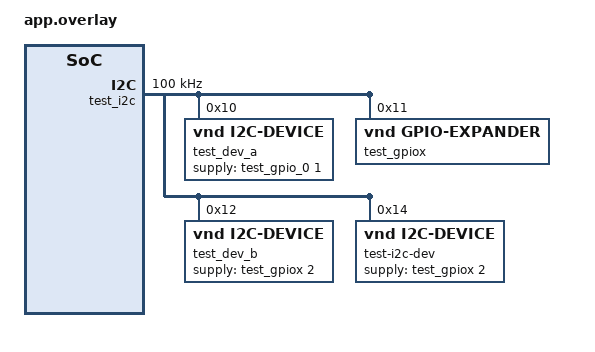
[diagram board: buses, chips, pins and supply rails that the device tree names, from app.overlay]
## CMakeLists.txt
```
# SPDX-License-Identifier: Apache-2.0

cmake_minimum_required(VERSION 3.28.0)

find_package(Zephyr REQUIRED HINTS $ENV{ZEPHYR_BASE})
project(devicetree_devices)

FILE(GLOB app_sources src/*.c)
target_sources(app PRIVATE ${app_sources})
```

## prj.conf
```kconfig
CONFIG_ZTEST=y
CONFIG_I2C=n
CONFIG_DEVICE_DEPS=y
CONFIG_CHECK_INIT_PRIORITIES=n
```

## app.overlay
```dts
/*
 * Copyright (c) 2020 Nordic Semiconductor ASA
 *
 * SPDX-License-Identifier: Apache-2.0
 *
 * Application overlay for testing the devicetree.h API.
 *
 * Names in this file should be chosen in a way that won't conflict
 * with real-world devicetree nodes, to allow these tests to run on
 * (and be extended to test) real hardware.
 */

/ {
	test {
		#address-cells = <0x1>;
		#size-cells = <0x1>;

		test_gpio_injected: gpio@1000 {
			compatible = "vnd,gpio-device";
			reg = <0x1000 0x1000>;
			gpio-controller;
			#gpio-cells = <0x2>;
			status = "okay";
		};

		test_gpio_0: gpio@ffff {
			compatible = "vnd,gpio-device";
			reg = <0xffff 0x1000>;
			gpio-controller;
			#gpio-cells = <0x2>;
			status = "okay";
		};

		test_i2c: i2c@11112222 {
			compatible = "vnd,i2c";
			reg = <0x11112222 0x1000>;
			#address-cells = <1>;
			#size-cells = <0>;
			clock-frequency = <100000>;
			status = "okay";

			test_dev_a: test-i2c-dev@10 {
				compatible = "vnd,i2c-device";
				reg = <0x10>;
				supply-gpios = <&test_gpio_0 1 0>;
				status = "okay";
			};

			test_gpiox: test-i2c-dev@11 {
				compatible = "vnd,gpio-expander";
				reg = <0x11>;
				gpio-controller;
				#gpio-cells = <2>;
				status = "okay";
			};

			test_dev_b: test-i2c-dev@12 {
				compatible = "vnd,i2c-device";
				reg = <0x12>;
				supply-gpios = <&test_gpiox 2 0>;
				status = "okay";
			};

			test_dev_c: test-i2c-dev@13 {
				compatible = "vnd,i2c-device";
				reg = <0x13>;
				status = "disabled";

				partitions {
					compatible = "fixed-partitions";
					#address-cells = <1>;
					#size-cells = <1>;

					test_p0_p1: partition@0 {
						compatible = "fixed-subpartitions";
						reg = <0x00000000 0x73000>;
						ranges = <0x0 0x0 0x73000>;
						label = "partition-0-1-outer";
						#address-cells = <1>;
						#size-cells = <1>;

						test_p0: partition@0 {
							reg = <0x00000000 0x0000c000>;
							label = "partition-0";
						};

						test_p1: partition@c000 {
							reg = <0x0000c000 0x00067000>;
							label = "partition-1";
						};
					};
				};
			};

			test-i2c-dev@14 {
				compatible = "vnd,i2c-device";
				reg = <0x14>;
				supply-gpios = <&test_gpiox 2 0>;
				status = "okay";
			};
		};
	};
};
```

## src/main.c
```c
/*
 * Copyright (c) 2020 Nordic Semiconductor ASA
 *
 * SPDX-License-Identifier: Apache-2.0
 */

#include <zephyr/ztest.h>
#include <zephyr/devicetree.h>
#include <zephyr/device.h>

#define TEST_GPIO DT_NODELABEL(test_gpio_0)
#define TEST_I2C DT_NODELABEL(test_i2c)
#define TEST_DEVA DT_NODELABEL(test_dev_a)
#define TEST_GPIOX DT_NODELABEL(test_gpiox)
#define TEST_DEVB DT_NODELABEL(test_dev_b)
#define TEST_DEVC DT_NODELABEL(test_dev_c)
#define TEST_PARTITION_OUTER DT_NODELABEL(test_p0_p1)
#define TEST_PARTITION0 DT_NODELABEL(test_p0)
#define TEST_PARTITION1 DT_NODELABEL(test_p1)
#define TEST_GPIO_INJECTED DT_NODELABEL(test_gpio_injected)
#define TEST_NOLABEL DT_PATH(test, i2c_11112222, test_i2c_dev_14)

static const struct device *devlist;
static const struct device *devlist_end;

static device_handle_t init_order[12];

static int dev_init(const struct device *dev)
{
	static uint8_t init_idx;

	__ASSERT_NO_MSG(init_idx < ARRAY_SIZE(init_order));
	init_order[init_idx++] = device_handle_get(dev);

	return 0;
}

DEVICE_DT_DEFINE(TEST_GPIO, dev_init, NULL,
		 NULL, NULL, PRE_KERNEL_1, 90, NULL);
DEVICE_DT_DEFINE(TEST_I2C, dev_init, NULL,
		 NULL, NULL, POST_KERNEL, 10, NULL);
DEVICE_DT_DEFINE(TEST_DEVA, dev_init, NULL,
		 NULL, NULL, POST_KERNEL, 20, NULL);
/* NB: Intentional init devb before required gpiox */
DEVICE_DT_DEFINE(TEST_DEVB, dev_init, NULL,
		 NULL, NULL, POST_KERNEL, 30, NULL);
DEVICE_DT_DEFINE(TEST_GPIOX, dev_init, NULL,
		 NULL, NULL, POST_KERNEL, 40, NULL);
DEVICE_DT_DEFINE(TEST_DEVC, dev_init, NULL,
		 NULL, NULL, POST_KERNEL, 50, NULL);
DEVICE_DT_DEFINE(TEST_PARTITION_OUTER, dev_init, NULL,
		 NULL, NULL, POST_KERNEL, 60, NULL);
DEVICE_DT_DEFINE(TEST_PARTITION0, dev_init, NULL,
		 NULL, NULL, POST_KERNEL, 61, NULL);
DEVICE_DT_DEFINE(TEST_PARTITION1, dev_init, NULL,
		 NULL, NULL, POST_KERNEL, 62, NULL);
/* Device with both an existing and missing injected dependency */
DEVICE_DT_DEFINE(TEST_GPIO_INJECTED, dev_init, NULL,
		 NULL, NULL, POST_KERNEL, 70, NULL, DT_DEP_ORD(TEST_DEVB), 999);
/* Manually specified device */
DEVICE_DEFINE(manual_dev, "Manual Device", dev_init, NULL,
		 NULL, NULL, POST_KERNEL, 80, NULL);
/* Device with no nodelabel */
DEVICE_DT_DEFINE(TEST_NOLABEL, dev_init, NULL,
		 NULL, NULL, POST_KERNEL, 90, NULL);

static const struct device *const comma_devs[] = {
	DEVICE_DT_GET_COMMA(TEST_GPIO)
	DEVICE_DT_GET_COMMA(TEST_I2C)
};

#undef DT_DRV_COMPAT
#define DT_DRV_COMPAT vnd_gpio_device

static const struct device *const comma_inst_devs[] = {
	DEVICE_DT_INST_GET_COMMA(0)
	DEVICE_DT_INST_GET_COMMA(1)
};

#define DEV_HDL(node_id) device_handle_get(DEVICE_DT_GET(node_id))
#define DEV_HDL_NAME(name) device_handle_get(DEVICE_GET(name))

/**
 * @brief Verify DEVICE_INIT_DT_GET() resolves to the matching device.
 *
 * @details
 * For every test devicetree node, the init entry obtained with
 * DEVICE_INIT_DT_GET() must reference the same device object that
 * DEVICE_DT_GET() returns.
 *
 * Expected result:
 * - Each init entry's device pointer equals the corresponding device.
 *
 * @ingroup kernel_device_tests
 * @see DEVICE_INIT_DT_GET()
 * @see DEVICE_DT_GET()
 * @verifies ZEP-SRS-14-5
 * @verifies ZEP-SRS-14-13
 */
ZTEST(devicetree_devices, test_init_get)
{
	/* Check device pointers */
	zassert_equal(DEVICE_INIT_DT_GET(TEST_GPIO)->dev,
		      DEVICE_DT_GET(TEST_GPIO));
	zassert_equal(DEVICE_INIT_DT_GET(TEST_I2C)->dev,
		      DEVICE_DT_GET(TEST_I2C));
	zassert_equal(DEVICE_INIT_DT_GET(TEST_DEVA)->dev,
		      DEVICE_DT_GET(TEST_DEVA));
	zassert_equal(DEVICE_INIT_DT_GET(TEST_DEVB)->dev,
		      DEVICE_DT_GET(TEST_DEVB));
	zassert_equal(DEVICE_INIT_DT_GET(TEST_GPIOX)->dev,
		      DEVICE_DT_GET(TEST_GPIOX));
	zassert_equal(DEVICE_INIT_DT_GET(TEST_DEVC)->dev,
		      DEVICE_DT_GET(TEST_DEVC));
	zassert_equal(DEVICE_INIT_DT_GET(TEST_PARTITION_OUTER)->dev,
		      DEVICE_DT_GET(TEST_PARTITION_OUTER));
	zassert_equal(DEVICE_INIT_DT_GET(TEST_PARTITION0)->dev,
		      DEVICE_DT_GET(TEST_PARTITION0));
	zassert_equal(DEVICE_INIT_DT_GET(TEST_PARTITION1)->dev,
		      DEVICE_DT_GET(TEST_PARTITION1));
	zassert_equal(DEVICE_INIT_DT_GET(TEST_GPIO_INJECTED)->dev,
		      DEVICE_DT_GET(TEST_GPIO_INJECTED));
	zassert_equal(DEVICE_INIT_GET(manual_dev)->dev,
		      DEVICE_GET(manual_dev));
	zassert_equal(DEVICE_INIT_DT_GET(TEST_NOLABEL)->dev,
		      DEVICE_DT_GET(TEST_NOLABEL));

	/* Check DEVICE_DT_GET_COMMA */
	zassert_equal(comma_devs[0], DEVICE_DT_GET(TEST_GPIO));
	zassert_equal(comma_devs[1], DEVICE_DT_GET(TEST_I2C));

	/* Check DEVICE_DT_INST_GET_COMMA */
	zassert_equal(comma_inst_devs[0], DEVICE_DT_INST_GET(0));
	zassert_equal(comma_inst_devs[1], DEVICE_DT_INST_GET(1));

	/* Check init functions */
	zassert_equal(DEVICE_DT_GET(TEST_GPIO)->ops.init, dev_init);
	zassert_equal(DEVICE_DT_GET(TEST_I2C)->ops.init, dev_init);
	zassert_equal(DEVICE_DT_GET(TEST_DEVA)->ops.init, dev_init);
	zassert_equal(DEVICE_DT_GET(TEST_DEVB)->ops.init, dev_init);
	zassert_equal(DEVICE_DT_GET(TEST_GPIOX)->ops.init, dev_init);
	zassert_equal(DEVICE_DT_GET(TEST_DEVC)->ops.init, dev_init);
	zassert_equal(DEVICE_DT_GET(TEST_PARTITION_OUTER)->ops.init, dev_init);
	zassert_equal(DEVICE_DT_GET(TEST_PARTITION0)->ops.init, dev_init);
	zassert_equal(DEVICE_DT_GET(TEST_PARTITION1)->ops.init, dev_init);
	zassert_equal(DEVICE_DT_GET(TEST_GPIO_INJECTED)->ops.init, dev_init);
	zassert_equal(DEVICE_GET(manual_dev)->ops.init, dev_init);
	zassert_equal(DEVICE_DT_GET(TEST_NOLABEL)->ops.init, dev_init);
}

/**
 * @brief Verify devices initialize in devicetree dependency order.
 *
 * @details
 * Each test driver records its device handle during initialization. The
 * recorded sequence must match the expected order derived from the
 * devicetree dependencies and init priorities.
 *
 * Expected result:
 * - The recorded initialization sequence matches the expected handle order.
 *
 * @ingroup kernel_device_tests
 * @see device_handle_get()
 */
ZTEST(devicetree_devices, test_init_order)
{
	zassert_equal(init_order[0], DEV_HDL(TEST_GPIO));
	zassert_equal(init_order[1], DEV_HDL(TEST_I2C));
	zassert_equal(init_order[2], DEV_HDL(TEST_DEVA));
	zassert_equal(init_order[3], DEV_HDL(TEST_DEVB));
	zassert_equal(init_order[4], DEV_HDL(TEST_GPIOX));
	zassert_equal(init_order[5], DEV_HDL(TEST_DEVC));
	zassert_equal(init_order[6], DEV_HDL(TEST_PARTITION_OUTER));
	zassert_equal(init_order[7], DEV_HDL(TEST_PARTITION0));
	zassert_equal(init_order[8], DEV_HDL(TEST_PARTITION1));
	zassert_equal(init_order[9], DEV_HDL(TEST_GPIO_INJECTED));
	zassert_equal(init_order[10], DEV_HDL_NAME(manual_dev));
	zassert_equal(init_order[11], DEV_HDL(TEST_NOLABEL));
}

static bool check_handle(device_handle_t hdl,
			 const device_handle_t *hdls,
			 size_t nhdls)
{
	const device_handle_t *hdle = hdls + nhdls;

	while (hdls < hdle) {
		if (*hdls == hdl) {
			return true;
		}
		++hdls;
	}

	return false;
}

struct visitor_context {
	uint8_t ndevs;
	const struct device *rdevs[2];
};

static int device_visitor(const struct device *dev,
			  void *context)
{
	struct visitor_context *ctx = context;
	const struct device **rdp = ctx->rdevs;

	while (rdp < (ctx->rdevs + ctx->ndevs)) {
		if (*rdp == NULL) {
			*rdp = dev;
			return 0;
		}

		++rdp;
	}

	return -ENOSPC;
}

/**
 * @brief Test querying the devices a device requires
 *
 * @details Verify device_required_handles_get() and device_required_foreach()
 * report the devices that a given device depends on.
 *
 * @ingroup kernel_device_tests
 * @see device_required_handles_get, device_required_foreach
 * @verifies ZEP-SRS-14-11
 */
ZTEST(devicetree_devices, test_requires)
{
	size_t nhdls = 0;
	const device_handle_t *hdls;
	const struct device *dev;
	struct visitor_context ctx = { 0 };

	/* TEST_GPIO: no req */
	dev = device_get_binding(DEVICE_DT_NAME(TEST_GPIO));
	zassert_equal(dev, DEVICE_DT_GET(TEST_GPIO));
	hdls = device_required_handles_get(dev, &nhdls);
	zassert_equal(nhdls, 0);
	zassert_equal(0, device_required_foreach(dev, device_visitor, &ctx));

	/* TEST_GPIO_INJECTED: no req */
	dev = device_get_binding(DEVICE_DT_NAME(TEST_GPIO_INJECTED));
	zassert_equal(dev, DEVICE_DT_GET(TEST_GPIO_INJECTED));
	hdls = device_required_handles_get(dev, &nhdls);
	zassert_equal(nhdls, 0);
	zassert_equal(0, device_required_foreach(dev, device_visitor, &ctx));

	/* TEST_I2C: no req */
	dev = device_get_binding(DEVICE_DT_NAME(TEST_I2C));
	zassert_equal(dev, DEVICE_DT_GET(TEST_I2C));
	hdls = device_required_handles_get(dev, &nhdls);
	zassert_equal(nhdls, 0);
	zassert_equal(0, device_required_foreach(dev, device_visitor, &ctx));

	/* TEST_DEVA: TEST_I2C GPIO */
	dev = device_get_binding(DEVICE_DT_NAME(TEST_DEVA));
	zassert_equal(dev, DEVICE_DT_GET(TEST_DEVA));
	hdls = device_required_handles_get(dev, &nhdls);
	zassert_equal(nhdls, 2);
	zassert_true(check_handle(DEV_HDL(TEST_I2C), hdls, nhdls));
	zassert_true(check_handle(DEV_HDL(TEST_GPIO), hdls, nhdls));

	/* Visit fails if not enough space */
	ctx = (struct visitor_context){
		.ndevs = 1,
	};
	zassert_equal(-ENOSPC, device_required_foreach(dev, device_visitor, &ctx));

	/* Visit succeeds if enough space. */
	ctx = (struct visitor_context){
		.ndevs = 2,
	};
	zassert_equal(2, device_required_foreach(dev, device_visitor, &ctx));
	zassert_true((ctx.rdevs[0] == device_from_handle(DEV_HDL(TEST_I2C)))
		     || (ctx.rdevs[1] == device_from_handle(DEV_HDL(TEST_I2C))));
	zassert_true((ctx.rdevs[0] == device_from_handle(DEV_HDL(TEST_GPIO)))
		     || (ctx.rdevs[1] == device_from_handle(DEV_HDL(TEST_GPIO))));

	/* TEST_GPIOX: TEST_I2C */
	dev = device_get_binding(DEVICE_DT_NAME(TEST_GPIOX));
	zassert_equal(dev, DEVICE_DT_GET(TEST_GPIOX));
	hdls = device_required_handles_get(dev, &nhdls);
	zassert_equal(nhdls, 1);
	zassert_true(check_handle(DEV_HDL(TEST_I2C), hdls, nhdls));
	ctx = (struct visitor_context){
		.ndevs = 3,
	};
	zassert_equal(1, device_required_foreach(dev, device_visitor, &ctx));
	zassert_true(ctx.rdevs[0] == device_from_handle(DEV_HDL(TEST_I2C)));

	/* TEST_DEVB: TEST_I2C TEST_GPIOX */
	dev = device_get_binding(DEVICE_DT_NAME(TEST_DEVB));
	zassert_equal(dev, DEVICE_DT_GET(TEST_DEVB));
	hdls = device_required_handles_get(dev, &nhdls);
	zassert_equal(nhdls, 2);
	zassert_true(check_handle(DEV_HDL(TEST_I2C), hdls, nhdls));
	zassert_true(check_handle(DEV_HDL(TEST_GPIOX), hdls, nhdls));

	/* TEST_GPIO_INJECTED: NONE */
	dev = device_get_binding(DEVICE_DT_NAME(TEST_GPIO_INJECTED));
	zassert_equal(dev, DEVICE_DT_GET(TEST_GPIO_INJECTED));
	hdls = device_required_handles_get(dev, &nhdls);
	zassert_equal(nhdls, 0);
}

/**
 * @brief Verify injected dependencies are reported for a device.
 *
 * @details
 * device_injected_handles_get() must return no handles for devices without
 * injected dependencies and exactly the injected device's handle for a node
 * declared with an injected dependency.
 *
 * Test steps:
 * - Query injected handles for two devices without injected dependencies.
 * - Query the device with an injected dependency and check the handle list.
 *
 * Expected result:
 * - Only the node with an injected dependency reports a handle, and it is
 *   the injected device's handle.
 *
 * @ingroup kernel_device_tests
 * @see device_injected_handles_get()
 */
ZTEST(devicetree_devices, test_injected)
{
	size_t nhdls = 0;
	const device_handle_t *hdls;
	const struct device *dev;

	/* TEST_GPIO: NONE */
	dev = device_get_binding(DEVICE_DT_NAME(TEST_GPIO));
	hdls = device_injected_handles_get(dev, &nhdls);
	zassert_equal(nhdls, 0);

	/* TEST_DEVB: NONE */
	dev = device_get_binding(DEVICE_DT_NAME(TEST_DEVB));
	hdls = device_injected_handles_get(dev, &nhdls);
	zassert_equal(nhdls, 0);

	/* TEST_GPIO_INJECTED: TEST_DEVB */
	dev = device_get_binding(DEVICE_DT_NAME(TEST_GPIO_INJECTED));
	hdls = device_injected_handles_get(dev, &nhdls);
	zassert_equal(nhdls, 1);
	zassert_true(check_handle(DEV_HDL(TEST_DEVB), hdls, nhdls));
}

/**
 * @brief Verify DEVICE_DT_GET_OR_NULL() for present and absent nodes.
 *
 * @details
 * The macro must resolve to the device for an existing devicetree node and
 * to NULL for a non-existent node, without failing the build.
 *
 * Expected result:
 * - An existing node yields a non-NULL device; a non-existent node yields
 *   NULL.
 *
 * @ingroup kernel_device_tests
 * @see DEVICE_DT_GET_OR_NULL()
 */
ZTEST(devicetree_devices, test_get_or_null)
{
	const struct device *dev;

	dev = DEVICE_DT_GET_OR_NULL(TEST_DEVA);
	zassert_not_equal(dev, NULL);

	dev = DEVICE_DT_GET_OR_NULL(non_existing_node);
	zassert_is_null(dev);
}

/**
 * @brief Test querying the devices that depend on a device
 *
 * @details Verify device_supported_handles_get() and
 * device_supported_foreach() report the devices that depend on a given device.
 *
 * @ingroup kernel_device_tests
 * @see device_supported_handles_get, device_supported_foreach
 * @verifies ZEP-SRS-14-20
 */
ZTEST(devicetree_devices, test_supports)
{
	size_t nhdls = 0;
	const device_handle_t *hdls;
	const struct device *dev;
	struct visitor_context ctx = { 0 };

	/* TEST_DEVB: None */
	dev = DEVICE_DT_GET(TEST_DEVB);
	hdls = device_supported_handles_get(dev, &nhdls);
	zassert_equal(nhdls, 1);
	zassert_true(check_handle(DEV_HDL(TEST_GPIO_INJECTED), hdls, nhdls));

	/* TEST_GPIO_INJECTED: None */
	dev = DEVICE_DT_GET(TEST_GPIO_INJECTED);
	hdls = device_supported_handles_get(dev, &nhdls);
	zassert_equal(nhdls, 0);

	/* TEST_GPIO: TEST_DEVA */
	dev = DEVICE_DT_GET(TEST_GPIO);
	hdls = device_supported_handles_get(dev, &nhdls);
	zassert_equal(nhdls, 1);
	zassert_true(check_handle(DEV_HDL(TEST_DEVA), hdls, nhdls));

	/* Visit fails if not enough space */
	ctx = (struct visitor_context){
		.ndevs = 0,
	};
	zassert_equal(-ENOSPC, device_supported_foreach(dev, device_visitor, &ctx));

	/* Visit succeeds if enough space. */
	ctx = (struct visitor_context){
		.ndevs = 1,
	};
	zassert_equal(1, device_supported_foreach(dev, device_visitor, &ctx));
	zassert_true(ctx.rdevs[0] == device_from_handle(DEV_HDL(TEST_DEVA)));

	/* TEST_I2C: TEST_DEVA TEST_GPIOX TEST_DEVB TEST_DEVC */
	dev = DEVICE_DT_GET(TEST_I2C);
	hdls = device_supported_handles_get(dev, &nhdls);
	zassert_equal(nhdls, 5);
	zassert_true(check_handle(DEV_HDL(TEST_DEVA), hdls, nhdls));
	zassert_true(check_handle(DEV_HDL(TEST_GPIOX), hdls, nhdls));
	zassert_true(check_handle(DEV_HDL(TEST_DEVB), hdls, nhdls));
	zassert_true(check_handle(DEV_HDL(TEST_DEVC), hdls, nhdls));
	zassert_true(check_handle(DEV_HDL(TEST_NOLABEL), hdls, nhdls));

	/* Support forwarding (intermediate missing devicetree node)
	 * TEST_DEVC: TEST_PARTITION_OUTER: TEST_PARTITION0 TEST_PARTITION1
	 */
	dev = DEVICE_DT_GET(TEST_DEVC);
	hdls = device_supported_handles_get(dev, &nhdls);
	zassert_equal(nhdls, 1);
	zassert_true(check_handle(DEV_HDL(TEST_PARTITION_OUTER), hdls, nhdls));
	dev = DEVICE_DT_GET(TEST_PARTITION_OUTER);
	hdls = device_supported_handles_get(dev, &nhdls);
	zassert_equal(nhdls, 2);
	zassert_true(check_handle(DEV_HDL(TEST_PARTITION0), hdls, nhdls));
	zassert_true(check_handle(DEV_HDL(TEST_PARTITION1), hdls, nhdls));
}

void *devicetree_devices_setup(void)
{
	size_t ndevs;

	ndevs = z_device_get_all_static(&devlist);
	devlist_end = devlist + ndevs;

	return NULL;
}
ZTEST_SUITE(devicetree_devices, NULL, devicetree_devices_setup, NULL, NULL, NULL);
```
